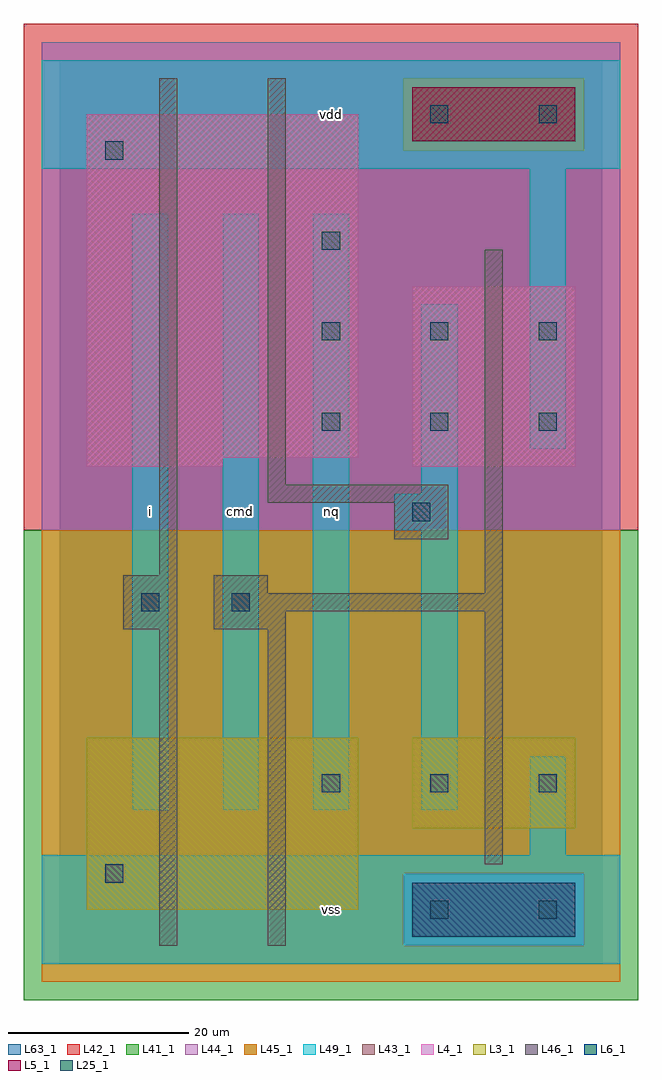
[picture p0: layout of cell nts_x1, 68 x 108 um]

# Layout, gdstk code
import gdstk
lib = gdstk.Library(unit=1e-6, precision=1e-09)
def R(c, l, rs):  # rectangles x0, y0, x1, y1
    for r in rs: c.add(gdstk.rectangle(r[:2], r[2:], *l))
def A(c, l, x, y, w, h, nx, ny, dx, dy):  # array of equal rectangles
    R(c, l, [(x+i*dx, y+j*dy, x+i*dx+w, y+j*dy+h) for i in range(nx) for j in range(ny)])
L3_1 = (3, 1)
L4_1 = (4, 1)
L5_1 = (5, 1)
L6_1 = (6, 1)
L25_1 = (25, 1)
L41_1 = (41, 1)
L42_1 = (42, 1)
L43_1 = (43, 1)
L44_1 = (44, 1)
L45_1 = (45, 1)
L46_1 = (46, 1)
L49_1 = (49, 1)
L63_1 = (63, 1)

nts_x1 = lib.new_cell('nts_x1')
R(nts_x1, L3_1, [(3,6,33,25), (39,15,57,25)])
R(nts_x1, L4_1, [(3,55,18,56), (39,55,57,75), (3,56,33,94)])
R(nts_x1, L5_1, [(39,91,57,97)])
R(nts_x1, L6_1, [(39,3,57,9), (39,3,57,9)])
A(nts_x1, L25_1, 29, 19, 2, 2, 3, 2, 12, 40)
A(nts_x1, L25_1, 29, 69, 2, 2, 3, 1, 12, 0)
R(nts_x1, L25_1, [(41,5,43,7), (53,5,55,7), (5,9,7,11), (9,39,11,41), (19,39,21,41), (39,49,41,51), (29,79,31,81), (5,89,7,91), (41,93,43,95), (53,93,55,95)])
R(nts_x1, L41_1, [(-4,-4,64,48)])
R(nts_x1, L42_1, [(-4,48,64,104)])
R(nts_x1, L43_1, [(39,3,57,9), (3,6,33,25), (39,15,57,25), (3,55,18,56), (39,55,57,75), (3,56,33,94), (39,91,57,97)])
R(nts_x1, L44_1, [(38,2,58,10), (-2,48,62,90), (-2,90,38,98), (58,90,62,98), (-2,98,62,102)])
R(nts_x1, L45_1, [(-2,-2,62,2), (-2,2,38,10), (58,2,62,10), (-2,10,62,48), (38,90,58,98)])
R(nts_x1, L46_1, [(11,2,13,37), (23,2,25,37), (47,11,49,39), (7,37,13,43), (17,37,25,39), (17,39,49,41), (17,41,23,43), (47,41,49,79), (11,43,13,98), (37,47,43,51), (23,51,43,53), (23,53,25,98)])
A(nts_x1, L49_1, 8, 17, 4, 66, 3, 1, 10, 0)
R(nts_x1, L49_1, [(-2,0,62,12), (52,12,56,23), (40,17,44,48), (37,48,44,52), (40,52,44,73), (52,57,56,88), (-2,88,62,100)])
R(nts_x1, L63_1, [(0,0,60,100)])
nts_x1.add(gdstk.Label('i', (10,50), layer=49, texttype=1))
nts_x1.add(gdstk.Label('cmd', (20,50), layer=49, texttype=1))
nts_x1.add(gdstk.Label('vss', (30,6), layer=49, texttype=1))
nts_x1.add(gdstk.Label('nq', (30,50), layer=49, texttype=1))
nts_x1.add(gdstk.Label('vdd', (30,94), layer=49, texttype=1))

lib.write_gds('nts_x1.gds')
